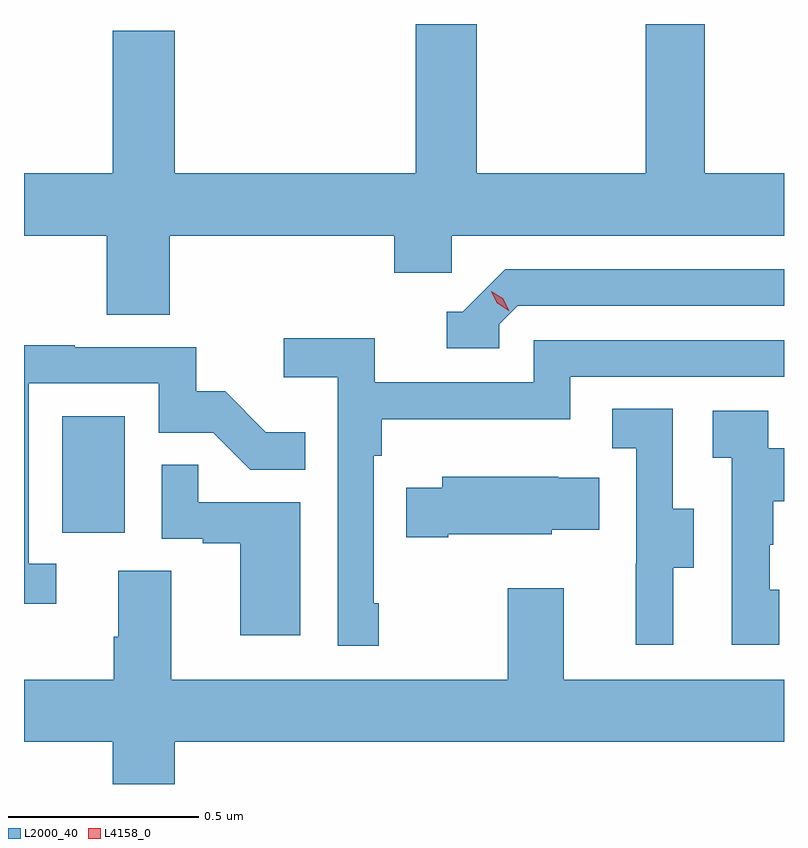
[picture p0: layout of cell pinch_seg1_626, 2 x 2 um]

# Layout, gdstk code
import gdstk
lib = gdstk.Library(unit=1e-6, precision=1e-09)
def R(c, l, rs):  # rectangles x0, y0, x1, y1
    for r in rs: c.add(gdstk.rectangle(r[:2], r[2:], *l))
def P(c, l, *ps):  # polygons
    for p in ps: c.add(gdstk.Polygon(p, *l))
L2000_40 = (2000, 40)
L4158_0 = (4158, 0)

pinch_seg1_626 = lib.new_cell('pinch_seg1_626')
R(pinch_seg1_626, L2000_40, [(1141.898,513.654,1142.062,513.961)])
P(pinch_seg1_626, L2000_40, [(1142.18,514.436),(1142.771,514.436),(1142.771,514.338),(1142.922,514.338),(1142.922,514.436),(1143.797,514.436),(1143.797,514.6),(1143.588,514.6),(1143.588,514.993),(1143.433,514.993),(1143.433,514.6),(1142.988,514.6),(1142.988,514.993),(1142.828,514.993),(1142.828,514.6),(1142.194,514.6),(1142.194,514.975),(1142.03,514.975),(1142.03,514.6),(1141.797,514.6),(1141.797,514.436),(1142.015,514.436),(1142.015,514.228),(1142.18,514.228)],
  [(1143.048,514.203),(1143.096,514.251),(1143.797,514.251),(1143.797,514.347),(1143.063,514.347),(1142.952,514.236),(1142.909,514.236),(1142.909,514.14),(1143.048,514.14)],
  [(1142.731,513.469),(1142.718,513.469),(1142.718,513.857),(1142.738,513.857),(1142.738,513.953),(1143.234,513.953),(1143.234,514.065),(1143.797,514.065),(1143.797,514.161),(1143.138,514.161),(1143.138,514.05),(1142.72,514.05),(1142.72,514.166),(1142.481,514.166),(1142.481,514.064),(1142.622,514.064),(1142.622,513.357),(1142.731,513.357)],
  [(1141.882,513.573),(1141.809,513.573),(1141.809,514.047),(1142.151,514.047),(1142.151,513.918),(1142.295,513.918),(1142.393,513.82),(1142.537,513.82),(1142.537,513.919),(1142.433,513.919),(1142.326,514.026),(1142.25,514.026),(1142.25,514.143),(1141.931,514.143),(1141.931,514.148),(1141.797,514.148),(1141.797,513.468),(1141.882,513.468)],
  [(1143.505,513.562),(1143.559,513.562),(1143.559,513.717),(1143.504,513.717),(1143.504,513.98),(1143.345,513.98),(1143.345,513.877),(1143.408,513.877),(1143.408,513.573),(1143.407,513.573),(1143.407,513.36),(1143.505,513.36)],
  [(1143.784,513.504),(1143.759,513.504),(1143.759,513.623),(1143.769,513.623),(1143.769,513.737),(1143.797,513.737),(1143.797,513.877),(1143.756,513.877),(1143.756,513.975),(1143.609,513.975),(1143.609,513.851),(1143.66,513.851),(1143.66,513.36),(1143.784,513.36)],
  [(1142.524,513.735),(1142.255,513.735),(1142.255,513.833),(1142.16,513.833),(1142.16,513.639),(1142.267,513.639),(1142.267,513.627),(1142.366,513.627),(1142.366,513.384),(1142.524,513.384)],
  [(1142.914,513.65),(1143.186,513.65),(1143.186,513.662),(1143.311,513.662),(1143.311,513.799),(1143.203,513.799),(1143.203,513.802),(1142.897,513.802),(1142.897,513.772),(1142.803,513.772),(1142.803,513.643),(1142.914,513.643)],
  [(1142.194,513.104),(1143.797,513.104),(1143.797,513.268),(1143.217,513.268),(1143.217,513.508),(1143.07,513.508),(1143.07,513.268),(1142.185,513.268),(1142.185,513.554),(1142.045,513.554),(1142.045,513.38),(1142.033,513.38),(1142.033,513.268),(1141.797,513.268),(1141.797,513.104),(1142.03,513.104),(1142.03,512.993),(1142.194,512.993)])
P(pinch_seg1_626, L4158_0, [(1143.073,514.239),(1143.042,514.258),(1143.026,514.289),(1143.026,514.29),(1143.026,514.29),(1143.057,514.271),(1143.074,514.239),(1143.074,514.239)])

lib.write_gds('pinch_seg1_626.gds')
